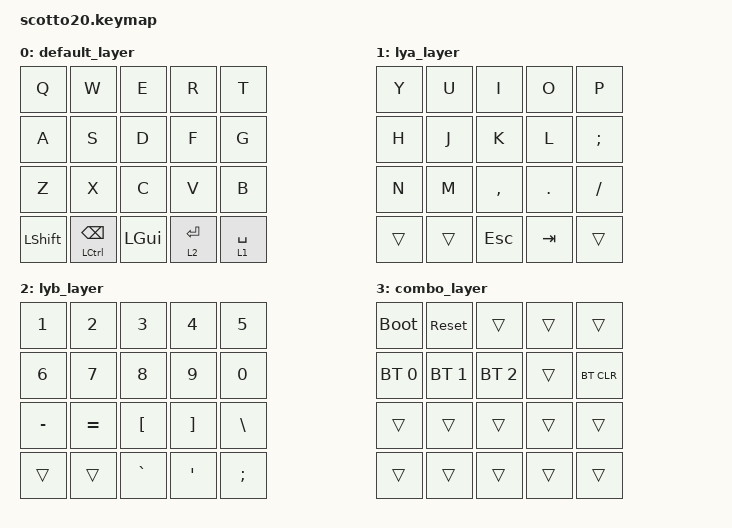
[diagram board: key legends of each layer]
#include <behaviors.dtsi>
#include <dt-bindings/zmk/keys.h>
#include <dt-bindings/zmk/bt.h>

/ {
    keymap {
        compatible = "zmk,keymap";

        default_layer {
            bindings = <
                &kp Q       &kp W          &kp E     &kp R      &kp T
                &kp A       &kp S          &kp D     &kp F      &kp G
                &kp Z       &kp X          &kp C     &kp V      &kp B
                &kp LSHFT   &mt LCTRL BSPC &kp LGUI  &lt 2 ENTER &lt 1 SPACE
            >;
        };

        lya_layer {
            bindings = <
                &kp Y      &kp U      &kp I      &kp O    &kp P
                &kp H      &kp J      &kp K      &kp L    &kp SEMI
                &kp N      &kp M      &kp COMMA  &kp DOT  &kp FSLH
                &trans     &trans     &kp ESC    &kp TAB  &trans
            >;
        };

        lyb_layer {
            bindings = <
                &kp N1    &kp N2    &kp N3    &kp N4    &kp N5
                &kp N6    &kp N7    &kp N8    &kp N9    &kp N0
                &kp MINUS &kp EQUAL &kp LBKT  &kp RBKT  &kp BSLH
                &trans    &trans    &kp GRAVE &kp SQT   &kp SEMI
            >;
        };

        combo_layer {
            bindings = <
                &bootloader   &sys_reset    &trans        &trans &trans
                &bt BT_SEL 0  &bt BT_SEL 1  &bt BT_SEL 2  &trans &bt BT_CLR
                &trans        &trans        &trans        &trans &trans
                &trans        &trans        &trans        &trans &trans
            >;
        };
    };

    combos {
        compatible = "zmk,combos";
        combo_bootloader_layer {
            timeout-ms = <50>;
            key-positions = <18 19>;
            bindings = <&mo 3>;
        };
    };
};
